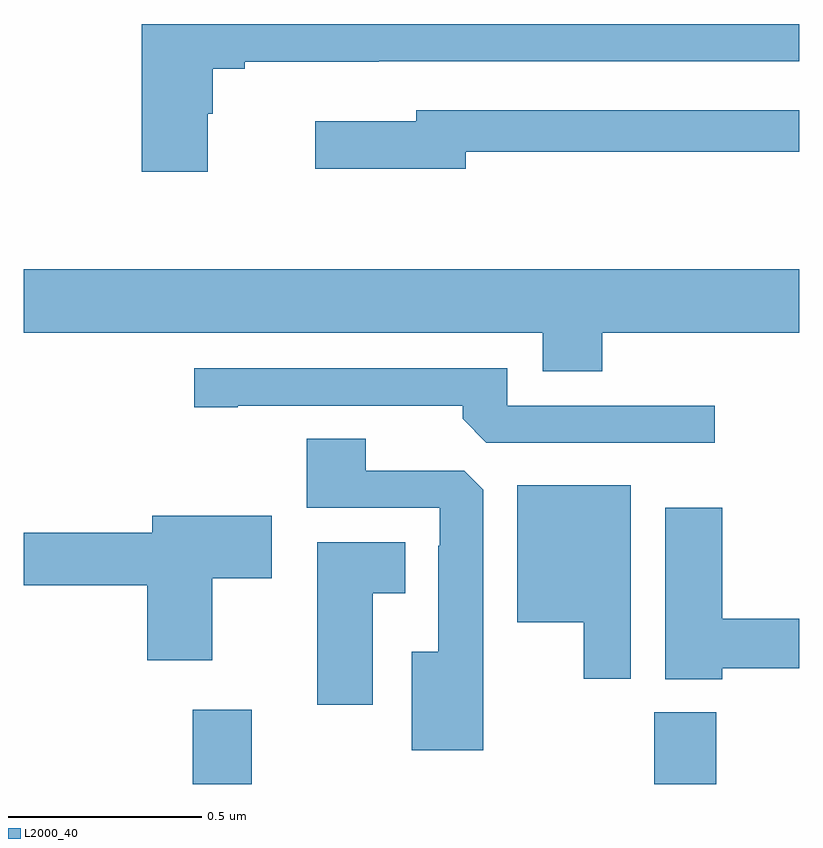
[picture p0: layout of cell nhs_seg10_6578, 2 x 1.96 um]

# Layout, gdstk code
import gdstk
lib = gdstk.Library(unit=1e-6, precision=1e-09)
def R(c, l, rs):  # rectangles x0, y0, x1, y1
    for r in rs: c.add(gdstk.rectangle(r[:2], r[2:], *l))
def P(c, l, *ps):  # polygons
    for p in ps: c.add(gdstk.Polygon(p, *l))
L2000_40 = (2000, 40)

nhs_seg10_6578 = lib.new_cell('nhs_seg10_6578')
R(nhs_seg10_6578, L2000_40, [(193.436,1284.5,193.588,1284.691), (194.626,1284.5,194.786,1284.685)])
P(nhs_seg10_6578, L2000_40, [(193.474,1286.229),(193.487,1286.229),(193.487,1286.344),(193.57,1286.344),(193.57,1286.363),(193.916,1286.363),(193.916,1286.364),(195,1286.364),(195,1286.46),(193.304,1286.46),(193.304,1286.079),(193.474,1286.079)],
  [(194.14,1286.13),(195,1286.13),(195,1286.238),(194.012,1286.238),(194.012,1286.209),(193.752,1286.209),(193.752,1286.087),(194.14,1286.087)],
  [(194.492,1285.664),(195,1285.664),(195,1285.828),(193,1285.828),(193,1285.664),(194.339,1285.664),(194.339,1285.565),(194.492,1285.565)],
  [(194.782,1285.476),(194.247,1285.476),(194.247,1285.572),(193.44,1285.572),(193.44,1285.471),(193.552,1285.471),(193.552,1285.476),(194.132,1285.476),(194.132,1285.442),(194.193,1285.38),(194.782,1285.38)],
  [(194.185,1285.259),(194.136,1285.308),(193.882,1285.308),(193.882,1285.391),(193.73,1285.391),(193.73,1285.212),(194.073,1285.212),(194.073,1285.115),(194.069,1285.115),(194.069,1284.841),(194,1284.841),(194,1284.587),(194.185,1284.587)],
  [(194.566,1285.27),(194.273,1285.27),(194.273,1284.917),(194.444,1284.917),(194.444,1284.771),(194.566,1284.771)],
  [(194.801,1284.798),(195,1284.798),(195,1284.926),(194.801,1284.926),(194.801,1285.213),(194.654,1285.213),(194.654,1284.77),(194.801,1284.77)],
  [(193.486,1285.03),(193.639,1285.03),(193.639,1285.192),(193.331,1285.192),(193.331,1285.148),(193,1285.148),(193,1285.012),(193.319,1285.012),(193.319,1284.819),(193.486,1284.819)],
  [(193.9,1284.992),(193.984,1284.992),(193.984,1285.123),(193.757,1285.123),(193.757,1284.705),(193.9,1284.705)])

lib.write_gds('nhs_seg10_6578.gds')
